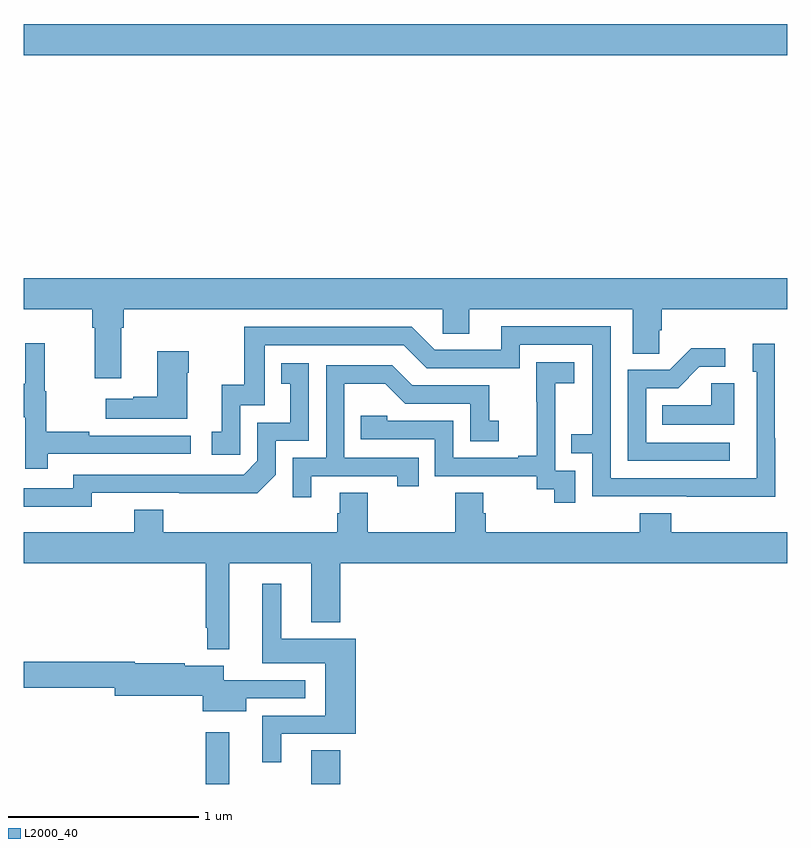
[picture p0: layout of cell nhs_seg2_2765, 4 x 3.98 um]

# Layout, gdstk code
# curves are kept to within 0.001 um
import gdstk
lib = gdstk.Library(unit=1e-6, precision=1e-09)
def R(c, l, rs):  # rectangles x0, y0, x1, y1
    for r in rs: c.add(gdstk.rectangle(r[:2], r[2:], *l))
def P(c, l, *ps):  # polygons
    for p in ps: c.add(gdstk.Polygon(p, *l))
L2000_40 = (2000, 40)

nhs_seg2_2765 = lib.new_cell('nhs_seg2_2765')
R(nhs_seg2_2765, L2000_40, [(255.954,659.8,256.075,660.07), (256.505,659.8,256.658,659.978), (255,663.62,259,663.784)])
P(nhs_seg2_2765, L2000_40, [(255,662.288),(255.359,662.288),(255.359,662.192),(255.371,662.192),(255.371,661.926),(255.511,661.926),(255.511,662.192),(255.524,662.192),(255.524,662.288),(257.196,662.288),(257.196,662.161),(257.335,662.161),(257.335,662.288),(258.191,662.288),(258.191,662.056),(258.33,662.056),(258.33,662.179),(258.344,662.179),(258.344,662.288),(259,662.288),(259,662.452),(255,662.452)],
  [(258.939,661.613),(258.936,661.613),(258.936,662.107),(258.821,662.107),(258.821,661.962),(258.84,661.962),(258.84,661.404),(258.075,661.404),(258.075,662.199),(257.501,662.199),(257.501,662.076),(257.154,662.076),(257.034,662.196),(256.154,662.196),(256.154,661.894),(256.037,661.894),(256.037,661.647),(255.984,661.647),(255.984,661.527),(256.134,661.527),(256.134,661.785),(256.263,661.785),(256.263,662.1),(256.992,662.1),(257.112,661.98),(257.598,661.98),(257.598,662.103),(257.979,662.103),(257.979,661.634),(257.869,661.634),(257.869,661.533),(257.979,661.533),(257.979,661.308),(258.939,661.307)],
  [(255.125,661.53),(255.874,661.53),(255.874,661.626),(255.341,661.626),(255.341,661.646),(255.118,661.646),(255.118,661.86),(255.11,661.86),(255.11,662.11),(255.008,662.11),(255.008,661.897),(255,661.897),(255,661.723),(255.008,661.723),(255.008,661.452),(255.125,661.452)],
  [(258.7,661.59),(258.261,661.59),(258.261,661.875),(258.43,661.875),(258.541,661.986),(258.676,661.986),(258.676,662.084),(258.497,662.084),(258.384,661.971),(258.165,661.971),(258.165,661.494),(258.7,661.494)],
  [(255.856,661.955),(255.864,661.955),(255.864,662.068),(255.698,662.068),(255.698,661.829),(255.572,661.829),(255.572,661.819),(255.429,661.819),(255.429,661.715),(255.856,661.715)],
  [(257.889,661.443),(257.784,661.443),(257.784,661.673),(257.786,661.673),(257.786,661.901),(257.884,661.901),(257.884,662.011),(257.686,662.011),(257.686,661.805),(257.687,661.805),(257.687,661.522),(257.591,661.522),(257.591,661.509),(257.25,661.509),(257.25,661.704),(256.905,661.704),(256.905,661.731),(256.765,661.731),(256.765,661.608),(257.154,661.608),(257.154,661.413),(257.688,661.413),(257.688,661.345),(257.781,661.345),(257.781,661.275),(257.889,661.275)],
  [(255.354,661.326),(256.222,661.325),(256.32,661.422),(256.32,661.599),(256.494,661.599),(256.494,662.005),(256.348,662.005),(256.348,661.899),(256.397,661.899),(256.397,661.695),(256.224,661.695),(256.224,661.494),(256.152,661.422),(255.258,661.422),(255.258,661.35),(255,661.35),(255,661.253),(255.354,661.253)],
  [(256.507,661.413),(256.958,661.413),(256.958,661.362),(257.069,661.362),(257.069,661.509),(256.68,661.509),(256.68,661.898),(256.894,661.898),(256.998,661.794),(257.34,661.794),(257.34,661.596),(257.488,661.596),(257.488,661.705),(257.439,661.705),(257.439,661.89),(257.035,661.89),(256.93,661.995),(256.584,661.995),(256.584,661.509),(256.41,661.509),(256.41,661.302),(256.507,661.302)],
  [(258.724,661.901),(258.603,661.901),(258.603,661.786),(258.346,661.786),(258.346,661.682),(258.724,661.682)],
  [(256.075,660.956),(256.505,660.956),(256.505,660.647),(256.658,660.647),(256.658,660.956),(259,660.956),(259,661.12),(258.392,661.12),(258.392,661.219),(258.227,661.219),(258.227,661.12),(257.42,661.12),(257.42,661.218),(257.407,661.218),(257.407,661.328),(257.26,661.328),(257.26,661.12),(256.803,661.12),(256.803,661.328),(256.655,661.328),(256.655,661.218),(256.642,661.218),(256.642,661.12),(255.731,661.12),(255.731,661.237),(255.578,661.237),(255.578,661.12),(255,661.12),(255,660.956),(255.954,660.956),(255.954,660.619),(255.961,660.619),(255.961,660.507),(256.075,660.507)],
  [(256.348,660.063),(256.739,660.063),(256.739,660.562),(256.348,660.562),(256.348,660.85),(256.25,660.85),(256.25,660.434),(256.58,660.434),(256.58,660.159),(256.25,660.159),(256.25,659.913),(256.348,659.913)],
  [(256.165,660.249),(256.474,660.249),(256.474,660.345),(256.048,660.345),(256.048,660.421),(255.842,660.421),(255.842,660.434),(255.58,660.434),(255.58,660.44),(255,660.44),(255,660.304),(255.476,660.304),(255.476,660.262),(255.938,660.262),(255.938,660.182),(256.165,660.182)])

lib.write_gds('nhs_seg2_2765.gds')
